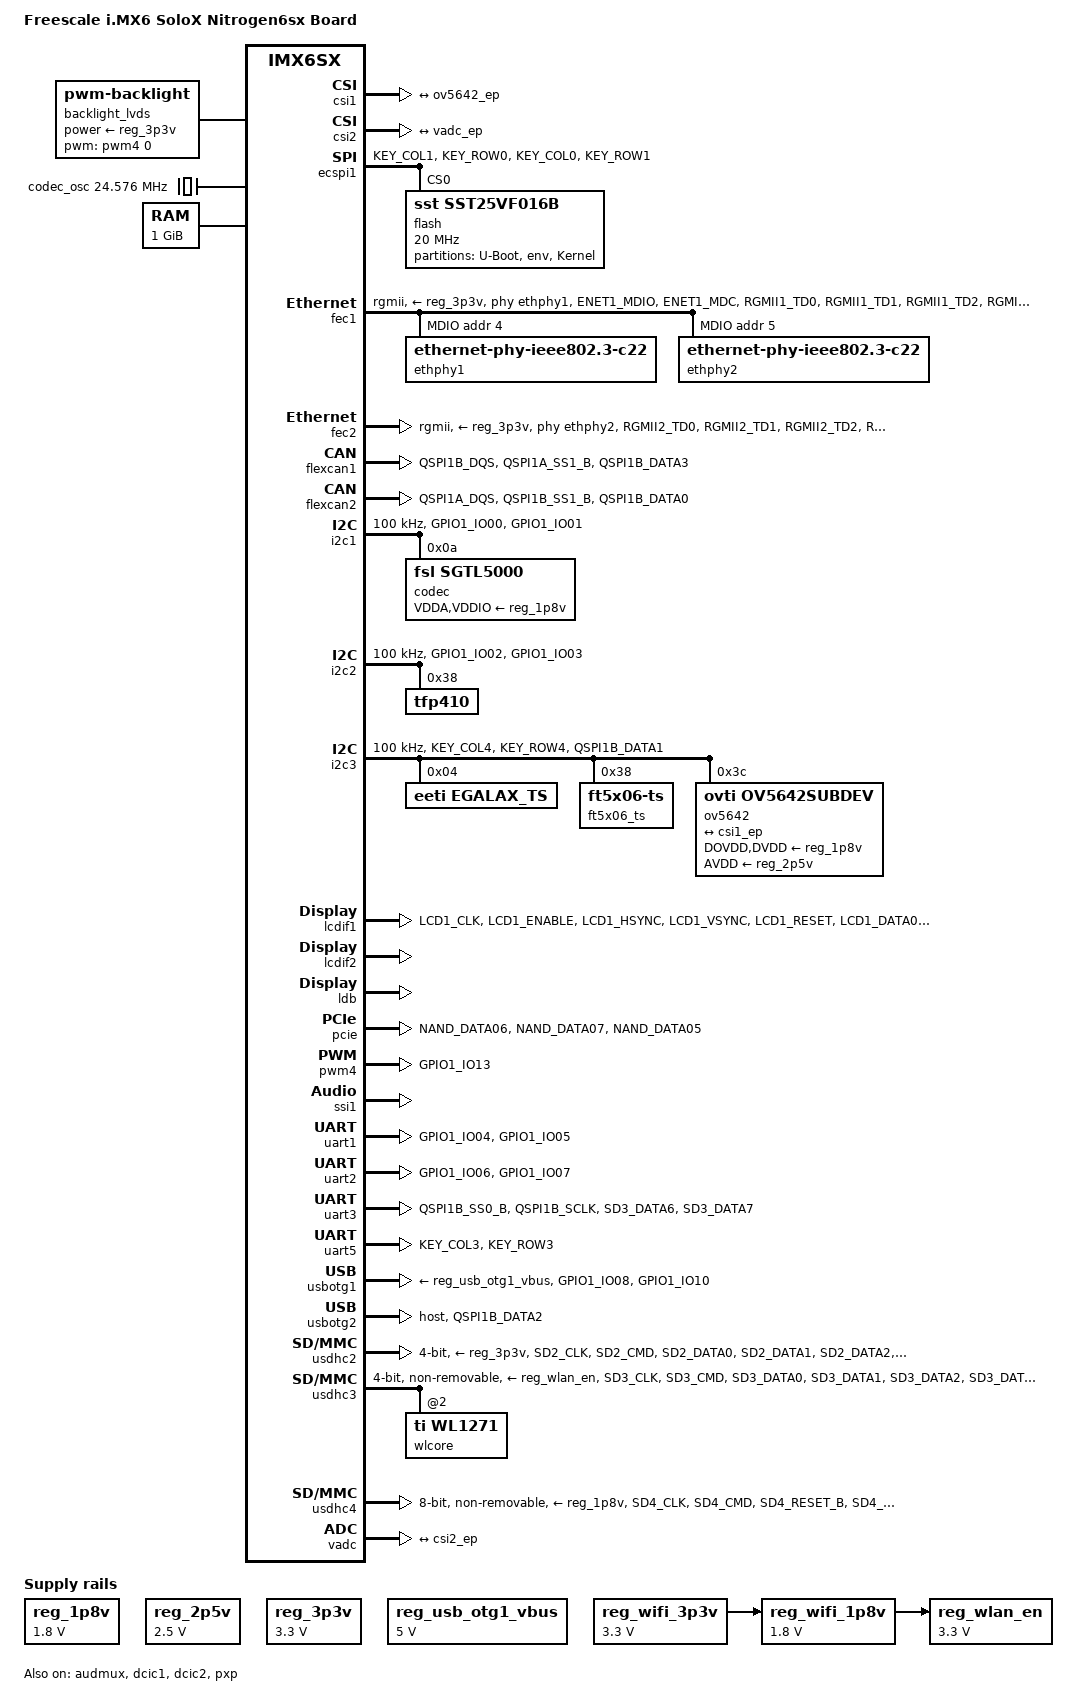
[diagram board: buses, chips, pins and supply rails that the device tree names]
/*
 * Copyright (C) 2014 Boundary Devices, Inc.
 *
 * This program is free software; you can redistribute it and/or modify
 * it under the terms of the GNU General Public License version 2 as
 * published by the Free Software Foundation.
 */

/dts-v1/;

#include <dt-bindings/gpio/gpio.h>
#include <dt-bindings/input/input.h>
#include "imx6sx.dtsi"

&iomuxc {
	pinctrl-names = "default";
	pinctrl-0 = <&pinctrl_hog>;

	iomuxc_nitrogen6sx: iomuxc-nitrogen6sxgrp {
		status = "okay";
	};
};

&iomuxc_nitrogen6sx {
	pinctrl_audmux: audmuxgrp {
		fsl,pins = <
			MX6SX_PAD_SD1_DATA0__AUDMUX_AUD5_RXD	0x1b0b0
			MX6SX_PAD_SD1_DATA1__AUDMUX_AUD5_TXC	0x1b0b0
			MX6SX_PAD_SD1_DATA2__AUDMUX_AUD5_TXFS	0x1b0b0
			MX6SX_PAD_SD1_DATA3__AUDMUX_AUD5_TXD	0x1b0b0
		>;
	};

	pinctrl_bt_rfkill: bt-rfkillgrp {
		fsl,pins = <
#define GP_BT_RFKILL_RESET	<&gpio2 17 GPIO_ACTIVE_LOW>
			MX6SX_PAD_KEY_ROW2__GPIO2_IO_17		0x1b0b0
		>;
	};

	pinctrl_csi_ov5642: csi-ov5642grp {
		fsl,pins = <
			MX6SX_PAD_CSI_MCLK__CSI1_MCLK		0x110b0
			MX6SX_PAD_CSI_PIXCLK__CSI1_PIXCLK	0x110b0
			MX6SX_PAD_CSI_HSYNC__CSI1_HSYNC		0x110b0
			MX6SX_PAD_CSI_VSYNC__CSI1_VSYNC		0x110b0
			MX6SX_PAD_CSI_DATA00__CSI1_DATA_2	0x110b0
			MX6SX_PAD_CSI_DATA01__CSI1_DATA_3	0x110b0
			MX6SX_PAD_CSI_DATA02__CSI1_DATA_4	0x110b0
			MX6SX_PAD_CSI_DATA03__CSI1_DATA_5	0x110b0
			MX6SX_PAD_CSI_DATA04__CSI1_DATA_6	0x110b0
			MX6SX_PAD_CSI_DATA05__CSI1_DATA_7	0x110b0
			MX6SX_PAD_CSI_DATA06__CSI1_DATA_8	0x110b0
			MX6SX_PAD_CSI_DATA07__CSI1_DATA_9	0x110b0

#define GP_OV5642_RESET		<&gpio4 2 GPIO_ACTIVE_LOW>
			MX6SX_PAD_NAND_CE1_B__GPIO4_IO_2	0x30b0
#define GP_OV5642_POWER_DOWN	<&gpio4 0 GPIO_ACTIVE_HIGH>
			MX6SX_PAD_NAND_ALE__GPIO4_IO_0		0xb0b0
		>;
	};

	pinctrl_ecspi1: ecspi1grp {
		fsl,pins = <
			MX6SX_PAD_KEY_COL1__ECSPI1_MISO		0x100b1
			MX6SX_PAD_KEY_ROW0__ECSPI1_MOSI		0x100b1
			MX6SX_PAD_KEY_COL0__ECSPI1_SCLK		0x100b1
#define GP_ECSPI1_NOR_CS		<&gpio2 16 GPIO_ACTIVE_LOW>
			MX6SX_PAD_KEY_ROW1__GPIO2_IO_16		0x0b0b1
		>;
	};

	pinctrl_enet1: enet1grp {
		fsl,pins = <
			MX6SX_PAD_ENET1_MDIO__ENET1_MDIO	0x1b0b0
			MX6SX_PAD_ENET1_MDC__ENET1_MDC		0x1b0b0
			MX6SX_PAD_RGMII1_TD0__ENET1_TX_DATA_0	0x30b1
			MX6SX_PAD_RGMII1_TD1__ENET1_TX_DATA_1	0x30b1
			MX6SX_PAD_RGMII1_TD2__ENET1_TX_DATA_2	0x30b1
			MX6SX_PAD_RGMII1_TD3__ENET1_TX_DATA_3	0x30b1
			MX6SX_PAD_RGMII1_TXC__ENET1_RGMII_TXC	0x30b1
			MX6SX_PAD_RGMII1_TX_CTL__ENET1_TX_EN	0x30b1
			MX6SX_PAD_RGMII1_RD0__ENET1_RX_DATA_0	0x3081
			MX6SX_PAD_RGMII1_RD1__ENET1_RX_DATA_1	0x3081
			MX6SX_PAD_RGMII1_RX_CTL__ENET1_RX_EN	0x3081
			MX6SX_PAD_RGMII1_RD2__ENET1_RX_DATA_2	0x3081
			MX6SX_PAD_RGMII1_RD3__ENET1_RX_DATA_3	0x3081
			MX6SX_PAD_RGMII1_RXC__ENET1_RX_CLK	0x3081
#define GP_RGMII1_PHY_RESET		<&gpio2 7 GPIO_ACTIVE_LOW>
			MX6SX_PAD_ENET2_CRS__GPIO2_IO_7		0xb0b0
#define GPIRQ_RGMII1_PHY		<&gpio2 4 IRQ_TYPE_LEVEL_LOW>
			MX6SX_PAD_ENET1_RX_CLK__GPIO2_IO_4	0xb0b0
			MX6SX_PAD_ENET1_TX_CLK__GPIO2_IO_5	0xb0b0
		>;
	};

	pinctrl_enet2: enet2grp {
		fsl,pins = <
			MX6SX_PAD_RGMII2_TD0__ENET2_TX_DATA_0	0x30b1
			MX6SX_PAD_RGMII2_TD1__ENET2_TX_DATA_1	0x30b1
			MX6SX_PAD_RGMII2_TD2__ENET2_TX_DATA_2	0x30b1
			MX6SX_PAD_RGMII2_TD3__ENET2_TX_DATA_3	0x30b1
			MX6SX_PAD_RGMII2_TXC__ENET2_RGMII_TXC	0x30b1
			MX6SX_PAD_RGMII2_TX_CTL__ENET2_TX_EN	0x30b1
			MX6SX_PAD_RGMII2_RD0__ENET2_RX_DATA_0	0x3081
			MX6SX_PAD_RGMII2_RD1__ENET2_RX_DATA_1	0x3081
			MX6SX_PAD_RGMII2_RX_CTL__ENET2_RX_EN	0x3081
			MX6SX_PAD_RGMII2_RD2__ENET2_RX_DATA_2	0x3081
			MX6SX_PAD_RGMII2_RD3__ENET2_RX_DATA_3	0x3081
			MX6SX_PAD_RGMII2_RXC__ENET2_RX_CLK	0x3081
#define GP_RGMII2_PHY_RESET		<&gpio2 6 GPIO_ACTIVE_LOW>
			MX6SX_PAD_ENET2_COL__GPIO2_IO_6		0xb0b0
#define GPIRQ_RGMII2_PHY		<&gpio2 8 IRQ_TYPE_LEVEL_LOW>
			MX6SX_PAD_ENET2_RX_CLK__GPIO2_IO_8	0xb0b0
			MX6SX_PAD_ENET2_TX_CLK__GPIO2_IO_9	0xb0b0
		>;
	};

	pinctrl_flexcan1: flexcan1grp {
		fsl,pins = <
			MX6SX_PAD_QSPI1B_DQS__CAN1_TX		0x1b0b0
			MX6SX_PAD_QSPI1A_SS1_B__CAN1_RX		0x1b0b0
#define GP_CAN1_STANDBY			<&gpio4 27 GPIO_ACTIVE_HIGH>
			MX6SX_PAD_QSPI1B_DATA3__GPIO4_IO_27	0x0b0b0
		>;
	};

	pinctrl_flexcan2: flexcan2grp {
		fsl,pins = <
			MX6SX_PAD_QSPI1A_DQS__CAN2_TX		0x1b0b0
			MX6SX_PAD_QSPI1B_SS1_B__CAN2_RX		0x1b0b0
#define GP_CAN2_STANDBY			<&gpio4 24 GPIO_ACTIVE_HIGH>
			MX6SX_PAD_QSPI1B_DATA0__GPIO4_IO_24	0x0b0b0
		>;
	};

	pinctrl_hog: hoggrp {
		fsl,pins = <
			MX6SX_PAD_NAND_CE0_B__GPIO4_IO_1	0x1b0b0
			MX6SX_PAD_NAND_WE_B__GPIO4_IO_14	0x1b0b0
			MX6SX_PAD_NAND_WP_B__GPIO4_IO_15	0x1b0b0
			MX6SX_PAD_NAND_READY_B__GPIO4_IO_13	0x1b0b0
			MX6SX_PAD_QSPI1A_DATA0__GPIO4_IO_16	0x1b0b0
			MX6SX_PAD_QSPI1A_DATA1__GPIO4_IO_17	0x1b0b0
			MX6SX_PAD_QSPI1A_DATA2__GPIO4_IO_18	0x1b0b0
			MX6SX_PAD_QSPI1A_DATA3__GPIO4_IO_19	0x1b0b0
#define GP_WIFI_PASS			<&gpio4 6 GPIO_ACTIVE_HIGH>
			MX6SX_PAD_NAND_DATA02__GPIO4_IO_6	0x030b1
#define GP_WIFI_FAIL			<&gpio4 4 GPIO_ACTIVE_HIGH>
			MX6SX_PAD_NAND_DATA00__GPIO4_IO_4	0x030b1
#define GP_WIFI_TEST			<&gpio4 7 GPIO_ACTIVE_LOW>
			MX6SX_PAD_NAND_DATA03__GPIO4_IO_7	0x0b0b1
			/* Test points */
			MX6SX_PAD_NAND_DATA04__GPIO4_IO_8	0x1b0b0
		>;
	};

	pinctrl_i2c1: i2c1grp {
		fsl,pins = <
			MX6SX_PAD_GPIO1_IO00__I2C1_SCL		0x4001b8b1
			MX6SX_PAD_GPIO1_IO01__I2C1_SDA		0x4001b8b1
		>;
	};

	pinctrl_i2c2: i2c2grp {
		fsl,pins = <
			MX6SX_PAD_GPIO1_IO02__I2C2_SCL		0x4001b8b1
			MX6SX_PAD_GPIO1_IO03__I2C2_SDA		0x4001b8b1
		>;
	};

	pinctrl_i2c2_tfp410: i2c2-tfp410grp {
		fsl,pins = <
#define GPIRQ_I2C2_TFP410	<&gpio4 3 IRQ_TYPE_EDGE_FALLING>
			MX6SX_PAD_NAND_CLE__GPIO4_IO_3		0x1b0b0
#define GP_I2C2_TFP410_I2C_SEL  <&gpio4 12 GPIO_ACTIVE_HIGH>
			MX6SX_PAD_NAND_RE_B__GPIO4_IO_12	0x1b0b0
		>;
	};

	pinctrl_i2c3: i2c3grp {
		fsl,pins = <
			MX6SX_PAD_KEY_COL4__I2C3_SCL		0x4001b8b1
			MX6SX_PAD_KEY_ROW4__I2C3_SDA		0x4001b8b1
#define GPIRQ_I2C3_J18	<&gpio4 25 IRQ_TYPE_EDGE_FALLING>
#define GP_I2C3_J18	<&gpio4 25 GPIO_ACTIVE_LOW>
			MX6SX_PAD_QSPI1B_DATA1__GPIO4_IO_25	0x1b0b0
		>;
	};

	pinctrl_lcdif1: lcdif1grp {
		fsl,pins = <
			MX6SX_PAD_LCD1_CLK__LCDIF1_CLK		0x4001b0b0
			MX6SX_PAD_LCD1_ENABLE__LCDIF1_ENABLE	0x4001b0b0
			MX6SX_PAD_LCD1_HSYNC__LCDIF1_HSYNC	0x4001b0b0
			MX6SX_PAD_LCD1_VSYNC__LCDIF1_VSYNC	0x4001b0b0
			MX6SX_PAD_LCD1_RESET__GPIO3_IO_27	0x4001b0b0
			MX6SX_PAD_LCD1_DATA00__LCDIF1_DATA_0	0x4001b0b0
			MX6SX_PAD_LCD1_DATA01__LCDIF1_DATA_1	0x4001b0b0
			MX6SX_PAD_LCD1_DATA02__LCDIF1_DATA_2	0x4001b0b0
			MX6SX_PAD_LCD1_DATA03__LCDIF1_DATA_3	0x4001b0b0
			MX6SX_PAD_LCD1_DATA04__LCDIF1_DATA_4	0x4001b0b0
			MX6SX_PAD_LCD1_DATA05__LCDIF1_DATA_5	0x4001b0b0
			MX6SX_PAD_LCD1_DATA06__LCDIF1_DATA_6	0x4001b0b0
			MX6SX_PAD_LCD1_DATA07__LCDIF1_DATA_7	0x4001b0b0
			MX6SX_PAD_LCD1_DATA08__LCDIF1_DATA_8	0x4001b0b0
			MX6SX_PAD_LCD1_DATA09__LCDIF1_DATA_9	0x4001b0b0
			MX6SX_PAD_LCD1_DATA10__LCDIF1_DATA_10	0x4001b0b0
			MX6SX_PAD_LCD1_DATA11__LCDIF1_DATA_11	0x4001b0b0
			MX6SX_PAD_LCD1_DATA12__LCDIF1_DATA_12	0x4001b0b0
			MX6SX_PAD_LCD1_DATA13__LCDIF1_DATA_13	0x4001b0b0
			MX6SX_PAD_LCD1_DATA14__LCDIF1_DATA_14	0x4001b0b0
			MX6SX_PAD_LCD1_DATA15__LCDIF1_DATA_15	0x4001b0b0
			MX6SX_PAD_LCD1_DATA16__LCDIF1_DATA_16	0x4001b0b0
			MX6SX_PAD_LCD1_DATA17__LCDIF1_DATA_17	0x4001b0b0
			MX6SX_PAD_LCD1_DATA18__LCDIF1_DATA_18	0x4001b0b0
			MX6SX_PAD_LCD1_DATA19__LCDIF1_DATA_19	0x4001b0b0
			MX6SX_PAD_LCD1_DATA20__LCDIF1_DATA_20	0x4001b0b0
			MX6SX_PAD_LCD1_DATA21__LCDIF1_DATA_21	0x4001b0b0
			MX6SX_PAD_LCD1_DATA22__LCDIF1_DATA_22	0x4001b0b0
			MX6SX_PAD_LCD1_DATA23__LCDIF1_DATA_23	0x4001b0b0
		>;
	};

	pinctrl_lvds: lvdsgrp {
		fsl,pins = <
#define GP_LVDS_ENABLE			<&gpio4 21 GPIO_ACTIVE_HIGH>
			MX6SX_PAD_QSPI1A_SCLK__GPIO4_IO_21	0xb0b0
		>;
	};

	pinctrl_pcie: pciegrp {
		fsl,pins = <
#define GP_PCIE_RESET			<&gpio4 10 GPIO_ACTIVE_LOW>
			MX6SX_PAD_NAND_DATA06__GPIO4_IO_10	0x30b0
#define GP_PCIE_DISABLE			<&gpio4 11 GPIO_ACTIVE_HIGH>
			MX6SX_PAD_NAND_DATA07__GPIO4_IO_11	0x30b0
#define GP_PCIE_WAKE			<&gpio4 9 GPIO_ACTIVE_LOW>
			MX6SX_PAD_NAND_DATA05__GPIO4_IO_9	0x30b0
		>;
	};

	pinctrl_pwm4: pwm4grp {
		fsl,pins = <
			MX6SX_PAD_GPIO1_IO13__PWM4_OUT		0x110b0
		>;
	};

	pinctrl_reg_wifi_1p8v: reg-wifi-1p8vgrp {
		fsl,pins = <
#define GP_REG_WIFI_1P8V_EN	<&gpio4 5 GPIO_ACTIVE_HIGH>
			MX6SX_PAD_NAND_DATA01__GPIO4_IO_5	0x030b0
		>;
	};

	pinctrl_reg_wifi_3p3v: reg-wifi-3p3vgrp {
		fsl,pins = <
#define GP_REG_WIFI_3P3V_EN	<&gpio6 1 GPIO_ACTIVE_HIGH>
			MX6SX_PAD_SD1_CMD__GPIO6_IO_1		0x030b0
		>;
	};

	pinctrl_reg_wlan: reg-wlangrp {
		fsl,pins = <
#define GP_REG_WLAN_EN	<&gpio7 6 GPIO_ACTIVE_HIGH>
			MX6SX_PAD_SD3_DATA4__GPIO7_IO_6		0x1b0b0
			MX6SX_PAD_GPIO1_IO11__CCM_CLKO1		0x000b0
		>;
	};

	pinctrl_sgtl5000: sgtl5000grp {
		fsl,pins = <
			MX6SX_PAD_GPIO1_IO12__CCM_CLKO2		0x000b0
#define GP_SGTL5000_HP_DETECT		<&gpio2 0 GPIO_ACTIVE_LOW>
			MX6SX_PAD_ENET1_COL__GPIO2_IO_0		0x1b0b0
#define GP_SGTL5000_MIC_DETECT		<&gpio2 1 GPIO_ACTIVE_LOW>
			MX6SX_PAD_ENET1_CRS__GPIO2_IO_1		0x1b0b0
#define GP_SGTL5000_MUTE		<&gpio4 22 GPIO_ACTIVE_LOW>
			MX6SX_PAD_QSPI1A_SS0_B__GPIO4_IO_22	0xb0b0
		>;
	};

	pinctrl_uart1: uart1grp {
		fsl,pins = <
			MX6SX_PAD_GPIO1_IO04__UART1_TX		0x1b0b1
			MX6SX_PAD_GPIO1_IO05__UART1_RX		0x1b0b1
		>;
	};

	pinctrl_uart2: uart2grp {
		fsl,pins = <
			MX6SX_PAD_GPIO1_IO06__UART2_TX		0x1b0b1
			MX6SX_PAD_GPIO1_IO07__UART2_RX		0x1b0b1
		>;
	};

	pinctrl_uart3: uart3grp {
		fsl,pins = <
			MX6SX_PAD_QSPI1B_SS0_B__UART3_TX	0x1b0b1
			MX6SX_PAD_QSPI1B_SCLK__UART3_RX		0x1b0b1
			MX6SX_PAD_SD3_DATA6__UART3_RTS_B	0x1b0b1
			MX6SX_PAD_SD3_DATA7__UART3_CTS_B	0x1b0b1
		>;
	};

	pinctrl_uart5: uart5grp {
		fsl,pins = <
			MX6SX_PAD_KEY_COL3__UART5_TX		0x1b0b1
			MX6SX_PAD_KEY_ROW3__UART5_RX		0x1b0b1
		>;
	};

	pinctrl_usbotg1: usbotg1grp {
		fsl,pins = <
			MX6SX_PAD_GPIO1_IO08__USB_OTG1_OC	0x1b0b0
			MX6SX_PAD_GPIO1_IO10__ANATOP_OTG1_ID	0x170b1
		>;
	};

	pinctrl_usbotg1_vbus: usbotg1-vbusgrp {
		fsl,pins = <
#define GP_USB_OTG1_PWR			<&gpio1 9 GPIO_ACTIVE_HIGH>
			MX6SX_PAD_GPIO1_IO09__GPIO1_IO_9	0x1b0b0
		>;
	};

	pinctrl_usbotg2: usbotg2grp {
		fsl,pins = <
#define GP_USB_HUB_RESET		<&gpio4 26 GPIO_ACTIVE_LOW>
			MX6SX_PAD_QSPI1B_DATA2__GPIO4_IO_26	0xb0b0
		>;
	};

	pinctrl_usdhc2_50mhz: usdhc2-50mhzgrp {
		fsl,pins = <
			MX6SX_PAD_SD2_CLK__USDHC2_CLK		0x10071
			MX6SX_PAD_SD2_CMD__USDHC2_CMD		0x1f071
			MX6SX_PAD_SD2_DATA0__USDHC2_DATA0	0x1f071
			MX6SX_PAD_SD2_DATA1__USDHC2_DATA1	0x1f071
			MX6SX_PAD_SD2_DATA2__USDHC2_DATA2	0x1f071
			MX6SX_PAD_SD2_DATA3__USDHC2_DATA3	0x1f071
#define GP_USDHC2_CD			<&gpio2 12 GPIO_ACTIVE_LOW>
			MX6SX_PAD_KEY_COL2__GPIO2_IO_12		0x1b0b0
		>;
	};

	pinctrl_usdhc3_50mhz: usdhc3-50mhzgrp {
		fsl,pins = <
			MX6SX_PAD_SD3_CLK__USDHC3_CLK		0x10071
			MX6SX_PAD_SD3_CMD__USDHC3_CMD		0x17071
			MX6SX_PAD_SD3_DATA0__USDHC3_DATA0	0x17071
			MX6SX_PAD_SD3_DATA1__USDHC3_DATA1	0x17071
			MX6SX_PAD_SD3_DATA2__USDHC3_DATA2	0x17071
			MX6SX_PAD_SD3_DATA3__USDHC3_DATA3	0x17071
#define GPIRQ_WL1271 	<&gpio7 7 IRQ_TYPE_LEVEL_HIGH>
			MX6SX_PAD_SD3_DATA5__GPIO7_IO_7		0x1b0b0
		>;
	};

	pinctrl_usdhc3_100mhz: usdhc3-100mhzgrp {
		fsl,pins = <
			MX6SX_PAD_SD3_CLK__USDHC3_CLK		0x100b9
			MX6SX_PAD_SD3_CMD__USDHC3_CMD		0x170b9
			MX6SX_PAD_SD3_DATA0__USDHC3_DATA0	0x170b9
			MX6SX_PAD_SD3_DATA1__USDHC3_DATA1	0x170b9
			MX6SX_PAD_SD3_DATA2__USDHC3_DATA2	0x170b9
			MX6SX_PAD_SD3_DATA3__USDHC3_DATA3	0x170b9
		>;
	};

	pinctrl_usdhc3_200mhz: usdhc3-200mhzgrp {
		fsl,pins = <
			MX6SX_PAD_SD3_CLK__USDHC3_CLK		0x100f9
			MX6SX_PAD_SD3_CMD__USDHC3_CMD		0x170f9
			MX6SX_PAD_SD3_DATA0__USDHC3_DATA0	0x170f9
			MX6SX_PAD_SD3_DATA1__USDHC3_DATA1	0x170f9
			MX6SX_PAD_SD3_DATA2__USDHC3_DATA2	0x170f9
			MX6SX_PAD_SD3_DATA3__USDHC3_DATA3	0x170f9
		>;
	};

	pinctrl_usdhc4_50mhz: usdhc4-50mhzgrp {
		fsl,pins = <
			MX6SX_PAD_SD4_CLK__USDHC4_CLK		0x10071
			MX6SX_PAD_SD4_CMD__USDHC4_CMD		0x17071
			MX6SX_PAD_SD4_RESET_B__USDHC4_RESET_B	0x17071
			MX6SX_PAD_SD4_DATA0__USDHC4_DATA0	0x17071
			MX6SX_PAD_SD4_DATA1__USDHC4_DATA1	0x17071
			MX6SX_PAD_SD4_DATA2__USDHC4_DATA2	0x17071
			MX6SX_PAD_SD4_DATA3__USDHC4_DATA3	0x17071
			MX6SX_PAD_SD4_DATA4__USDHC4_DATA4	0x17071
			MX6SX_PAD_SD4_DATA5__USDHC4_DATA5	0x17071
			MX6SX_PAD_SD4_DATA6__USDHC4_DATA6	0x17071
			MX6SX_PAD_SD4_DATA7__USDHC4_DATA7	0x17071
		>;
	};
	pinctrl_usdhc4_100mhz: usdhc4-100mhzgrp {
		fsl,pins = <
			MX6SX_PAD_SD4_CLK__USDHC4_CLK		0x100b9
			MX6SX_PAD_SD4_CMD__USDHC4_CMD		0x170b9
			MX6SX_PAD_SD4_DATA0__USDHC4_DATA0	0x170b9
			MX6SX_PAD_SD4_DATA1__USDHC4_DATA1	0x170b9
			MX6SX_PAD_SD4_DATA2__USDHC4_DATA2	0x170b9
			MX6SX_PAD_SD4_DATA3__USDHC4_DATA3	0x170b9
			MX6SX_PAD_SD4_DATA4__USDHC4_DATA4	0x170b9
			MX6SX_PAD_SD4_DATA5__USDHC4_DATA5	0x170b9
			MX6SX_PAD_SD4_DATA6__USDHC4_DATA6	0x170b9
			MX6SX_PAD_SD4_DATA7__USDHC4_DATA7	0x170b9
		>;
	};

	pinctrl_usdhc4_200mhz: usdhc4-200mhzgrp {
		fsl,pins = <
			MX6SX_PAD_SD4_CLK__USDHC4_CLK		0x100f9
			MX6SX_PAD_SD4_CMD__USDHC4_CMD		0x170f9
			MX6SX_PAD_SD4_DATA0__USDHC4_DATA0	0x170f9
			MX6SX_PAD_SD4_DATA1__USDHC4_DATA1	0x170f9
			MX6SX_PAD_SD4_DATA2__USDHC4_DATA2	0x170f9
			MX6SX_PAD_SD4_DATA3__USDHC4_DATA3	0x170f9
			MX6SX_PAD_SD4_DATA4__USDHC4_DATA4	0x170f9
			MX6SX_PAD_SD4_DATA5__USDHC4_DATA5	0x170f9
			MX6SX_PAD_SD4_DATA6__USDHC4_DATA6	0x170f9
			MX6SX_PAD_SD4_DATA7__USDHC4_DATA7	0x170f9
		>;
	};
};

/ {
	model = "Freescale i.MX6 SoloX Nitrogen6sx Board";
	compatible = "fsl,imx6sx-nitrogen6sx", "fsl,imx6sx";

	aliases {
		fb_lcd = &lcdif1;
		fb_lvds = &lcdif2;
		lcd = &display0;
		lvds = &display1;
		ldb = &ldb;
		mmc0 = &usdhc2;
		mmc1 = &usdhc4;
		mmc2 = &usdhc3;
		t_lcd = &t_lcd;
		t_lvds = &t_lvds;
	};

	backlight_lvds {
		compatible = "pwm-backlight";
		pwms = <&pwm4 0 5000000>;
		brightness-levels = <0 4 8 16 32 64 128 255>;
		default-brightness-level = <6>;
		fb-names = "mxs-lcdif2";
		power-supply = <&reg_3p3v>;
	};

	bt_rfkill {
		pinctrl-names = "default";
		pinctrl-0 = <&pinctrl_bt_rfkill>;
		compatible = "net,rfkill-gpio";
		name = "bt_rfkill";
		type = <2>;     /* bluetooth */
		reset-gpios = GP_BT_RFKILL_RESET;
		status = "okay";
	};

	clocks {
	        codec_osc: anaclk2 {
		        #clock-cells = <0>;
		        compatible = "fixed-clock";
		        clock-frequency = <24576000>;
		};
	};

	memory {
		reg = <0x80000000 0x40000000>;
	};

	pxp_v4l2_out {
		compatible = "fsl,imx6sx-pxp-v4l2", "fsl,imx6sl-pxp-v4l2";
		status = "okay";
	};

	regulators {
		compatible = "simple-bus";
		#address-cells = <1>;
		#size-cells = <0>;

		reg_1p8v: regulator@0 {
			compatible = "regulator-fixed";
			reg = <0>;
			regulator-name = "1P8V";
			regulator-min-microvolt = <1800000>;
			regulator-max-microvolt = <1800000>;
			regulator-always-on;
		};

		reg_2p5v: regulator@1 {
			compatible = "regulator-fixed";
			reg = <1>;
			regulator-name = "2P5V";
			regulator-min-microvolt = <2500000>;
			regulator-max-microvolt = <2500000>;
			regulator-always-on;
		};

		reg_3p3v: regulator@2 {
			compatible = "regulator-fixed";
			reg = <2>;
			regulator-name = "3P3V";
			regulator-min-microvolt = <3300000>;
			regulator-max-microvolt = <3300000>;
			regulator-always-on;
		};

		reg_usb_otg1_vbus: regulator@3 {
			pinctrl-names = "default";
			pinctrl-0 = <&pinctrl_usbotg1_vbus>;
			compatible = "regulator-fixed";
			reg = <3>;
			regulator-name = "usb_otg1_vbus";
			regulator-min-microvolt = <5000000>;
			regulator-max-microvolt = <5000000>;
			gpio = GP_USB_OTG1_PWR;
			enable-active-high;
		};

		reg_wifi_3p3v: regulator@4 {
			compatible = "regulator-fixed";
			pinctrl-names = "default";
			pinctrl-0 = <&pinctrl_reg_wifi_3p3v>;
			reg = <4>;
			regulator-name = "wifi_3P3V";
			regulator-min-microvolt = <3300000>;
			regulator-max-microvolt = <3300000>;
			startup-delay-us = <5000>;
			gpio = GP_REG_WIFI_3P3V_EN;
			enable-active-high;
		};

		reg_wifi_1p8v: regulator@5 {
			compatible = "regulator-fixed";
			pinctrl-names = "default";
			pinctrl-0 = <&pinctrl_reg_wifi_1p8v>;
			reg = <5>;
			regulator-name = "wifi_1P8V";
			regulator-min-microvolt = <1800000>;
			regulator-max-microvolt = <1800000>;
			startup-delay-us = <400000>;
			gpio = GP_REG_WIFI_1P8V_EN;
			enable-active-high;
			vin-supply = <&reg_wifi_3p3v>;
		};

		reg_wlan_en: regulator@6 {
			pinctrl-names = "default";
			pinctrl-0 = <&pinctrl_reg_wlan>;
			compatible = "regulator-fixed";
			clocks = <&clks IMX6SX_CLK_CKO>;
			clock-names = "slow";
			reg = <6>;
			regulator-name = "wlan-en";
			regulator-min-microvolt = <3300000>;
			regulator-max-microvolt = <3300000>;
			startup-delay-us = <70000>;
			gpio = GP_REG_WLAN_EN;
			enable-active-high;
			vin-supply = <&reg_wifi_1p8v>;
		};
	};

	sound_sgtl5000 {
		compatible = "fsl,imx6sx-nitrogen6sx-sgtl5000",
			     "fsl,imx-audio-sgtl5000";
		model = "imx6sx-nitrogen6sx-sgtl5000";
		ssi-controller = <&ssi1>;
		audio-codec = <&codec>;
		audio-routing =
			"MIC_IN", "Mic Jack",
			"Mic Jack", "Mic Bias",
			"Headphone Jack", "HP_OUT",
			"Line Out Jack", "LINE_OUT";
		mux-int-port = <1>;
		mux-ext-port = <5>;
		line-out-mute-gpios = GP_SGTL5000_MUTE;
	};
};

&audmux {
	pinctrl-names = "default";
	pinctrl-0 = <&pinctrl_audmux>;
	status = "okay";
};

&clks {
	assigned-clocks = <&clks IMX6SX_PLL4_BYPASS_SRC>,
			  <&clks IMX6SX_PLL4_BYPASS>,
			  <&clks IMX6SX_CLK_CKO>,
			  <&clks IMX6SX_CLK_CKO1_SEL>,
			  <&clks IMX6SX_CLK_PLL4_POST_DIV>;
	assigned-clock-parents = <&clks IMX6SX_CLK_LVDS2_IN>,
				 <&clks IMX6SX_PLL4_BYPASS_SRC>,
				 <&clks IMX6SX_CLK_CKO1>,
				 <&clks IMX6SX_CLK_CKIL>;
	assigned-clock-rates = <0>, <0>, <0>, <0>, <24576000>;
};

&csi1 {
	status = "okay";

	port {
		csi1_ep: endpoint {
			remote-endpoint = <&ov5642_ep>;
		};
	};
};

&csi2 {
	status = "okay";
	port {
		csi2_ep: endpoint {
			remote-endpoint = <&vadc_ep>;
		};
	};
};

&dcic1 {
	dcic_id = <0>;
	dcic_mux = "dcic-lcdif1";
	status = "okay";
};

&dcic2 {
	dcic_id = <1>;
	dcic_mux = "dcic-lvds";
	status = "okay";
};

&ecspi1 {
	fsl,spi-num-chipselects = <1>;
	cs-gpios = GP_ECSPI1_NOR_CS;
	pinctrl-names = "default";
	pinctrl-0 = <&pinctrl_ecspi1>;
	status = "okay";

	flash: m25p80@0 {
		compatible = "sst,sst25vf016b";
		spi-max-frequency = <20000000>;
		reg = <0>;
		#address-cells = <1>;
		#size-cells = <1>;
		partition@0 {
			label = "U-Boot";
			reg = <0x0 0xC0000>;
			read-only;
		};
		partition@C0000 {
			label = "env";
			reg = <0xC0000 0x2000>;
			read-only;
		};
		partition@C2000 {
			label = "Kernel";
			reg = <0xC2000 0x13e000>;
		};
	};
};

&fec1 {
	pinctrl-names = "default";
	pinctrl-0 = <&pinctrl_enet1>;
	phy-mode = "rgmii";
#if 0
	phy-reset-gpios = GP_RGMII1_PHY_RESET;
#endif
	phy-handle = <&ethphy1>;
	phy-supply = <&reg_3p3v>;
	fsl,magic-packet;
	status = "okay";

	mdio {
		#address-cells = <1>;
		#size-cells = <0>;

		ethphy1: ethernet-phy@4 {
			compatible = "ethernet-phy-ieee802.3-c22";
			reg = <4>;
			interrupts-extended = GPIRQ_RGMII1_PHY;
		};

		ethphy2: ethernet-phy@5 {
			compatible = "ethernet-phy-ieee802.3-c22";
			reg = <5>;
			interrupts-extended = GPIRQ_RGMII2_PHY;
		};
	};
};

&fec2 {
	pinctrl-names = "default";
	pinctrl-0 = <&pinctrl_enet2>;
	phy-mode = "rgmii";
#if 0
	phy-reset-gpios = GP_RGMII2_PHY_RESET;
#endif
	phy-handle = <&ethphy2>;
	phy-supply = <&reg_3p3v>;
	fsl,magic-packet;
	status = "okay";
};

&flexcan1 {
	pinctrl-names = "default";
	pinctrl-0 = <&pinctrl_flexcan1>;
	trx-stby-gpio = GP_CAN1_STANDBY;
	status = "okay";
};

&flexcan2 {
	pinctrl-names = "default";
	pinctrl-0 = <&pinctrl_flexcan2>;
	trx-stby-gpio = GP_CAN2_STANDBY;
	status = "okay";
};

&i2c1 {
	clock-frequency = <100000>;
	pinctrl-names = "default";
	pinctrl-0 = <&pinctrl_i2c1>;
	status = "okay";

	codec: sgtl5000@0a {
		compatible = "fsl,sgtl5000";
		pinctrl-names = "default";
		pinctrl-0 = <&pinctrl_sgtl5000>;
		reg = <0x0a>;
		clocks = <&clks IMX6SX_CLK_CKO2>;
		VDDA-supply = <&reg_1p8v>;
		VDDIO-supply = <&reg_1p8v>;
		assigned-clocks = <&clks IMX6SX_CLK_CKO2_SEL>,
				  <&clks IMX6SX_CLK_CKO2>;
		assigned-clock-parents = <&clks IMX6SX_CLK_OSC>;
		assigned-clock-rates = <0>, <24000000>;
	};
};

&i2c2 {
	clock-frequency = <100000>;
	pinctrl-names = "default";
	pinctrl-0 = <&pinctrl_i2c2>;
	status = "okay";
	tfp410@38 {
		compatible = "tfp410";
		pinctrl-names = "default";
		pinctrl-0 = <&pinctrl_i2c2_tfp410>;
		reg = <0x38>;
		interrupts-extended = GPIRQ_I2C2_TFP410;
		i2c_sel-gpios = GP_I2C2_TFP410_I2C_SEL;
		display_id = "mxs-lcdif";
	};

	/* pcie i2c */
};

&i2c3 {
        clock-frequency = <100000>;
	pinctrl-names = "default";
	pinctrl-0 = <&pinctrl_i2c3>;
	status = "okay";

        egalax_ts@04 {
                compatible = "eeti,egalax_ts";
                reg = <0x04>;
                interrupts-extended = GPIRQ_I2C3_J18;
                wakeup-gpios = GP_I2C3_J18;
        };

	ft5x06_ts@38 {
		compatible = "ft5x06-ts";
		reg = <0x38>;
                interrupts-extended = GPIRQ_I2C3_J18;
		wakeup-gpios = GP_I2C3_J18;
	};

	ov5642: ov5642@3c {
		compatible = "ovti,ov5642subdev";
		reg = <0x3c>;
		pinctrl-names = "default";
		pinctrl-0 = <&pinctrl_csi_ov5642>;
		clocks = <&clks IMX6SX_CLK_CSI>;
		clock-names = "csi_mclk";
		DOVDD-supply = <&reg_1p8v>;
		AVDD-supply = <&reg_2p5v>;
		DVDD-supply = <&reg_1p8v>;
		pwn-gpios = GP_OV5642_POWER_DOWN;
		rst-gpios = GP_OV5642_RESET;
		ipu_id = <0>;
		csi_id = <0>;
		mclk = <24000000>;
		mclk_source = <0>;
		port {
			ov5642_ep: endpoint {
				remote-endpoint = <&csi1_ep>;
			};
		};
	};
};

&lcdif1 {
	pinctrl-names = "default";
	pinctrl-0 = <&pinctrl_lcdif1>;
	lcd-supply = <&reg_3p3v>;
	display = <&display0>;
	status = "okay";

	display0: display0 {
		bits-per-pixel = <16>;
		bus-width = <24>;

		display-timings {
			t_lcd: t_lcd_default {
				/* 720p values may be changed in bootscript */
				clock-frequency = <74160000>;
				hactive = <1280>;
				vactive = <720>;
				hback-porch = <220>;
				hfront-porch = <110>;
				vback-porch = <20>;
				vfront-porch = <5>;
				hsync-len = <40>;
				vsync-len = <5>;
				hsync-active = <0>;
				vsync-active = <0>;
				de-active = <1>;
				pixelclk-active = <0>;
			};
		};
	};
};

&lcdif2 {
	lcd-supply = <&reg_3p3v>;
	display = <&display1>;
	disp-dev = "ldb";
	status = "okay";

	assigned-clocks = <&clks IMX6SX_CLK_LCDIF2_SEL>;
	assigned-clock-parents = <&clks IMX6SX_CLK_LDB_DI0>;
	assigned-clock-rates = <0>;

	display1: display1 {
		bits-per-pixel = <16>;
		bus-width = <18>;
	};
};

&ldb {
	status = "okay";

	lvds-channel@0 {
		fsl,data-mapping = "spwg";
		fsl,data-width = <18>;
		crtc = "lcdif2";
		status = "okay";

		display-timings {
			t_lvds: t_lvds_default {
				/* values may be changed in bootscript */
				clock-frequency = <73404600>;
				hactive = <1280>;
				vactive = <800>;
				hback-porch = <40>;
				hfront-porch = <40>;
				vback-porch = <3>;
				vfront-porch = <80>;
				hsync-len = <10>;
				vsync-len = <10>;
			};
		};
	};
};

&pcie {
	pinctrl-names = "default";
	pinctrl-0 = <&pinctrl_pcie>;
	reset-gpios = GP_PCIE_RESET;
	status = "okay";
};

&pwm4 {
	pinctrl-names = "default";
	pinctrl-0 = <&pinctrl_pwm4>;
	status = "okay";
};

&pxp {
	status = "okay";
};

&ssi1 {
	fsl,mode = "i2s-master";
	status = "okay";
};

&uart1 {
	pinctrl-names = "default";
	pinctrl-0 = <&pinctrl_uart1>;
	status = "okay";
};

&uart2 {
	pinctrl-names = "default";
	pinctrl-0 = <&pinctrl_uart2>;
	status = "okay";
};

&uart3 { /* for bluetooth */
	pinctrl-names = "default";
	pinctrl-0 = <&pinctrl_uart3>;
	fsl,uart-has-rtscts;
	status = "okay";
};

&uart5 {
	pinctrl-names = "default";
	pinctrl-0 = <&pinctrl_uart5>;
	status = "okay";
};

&usbotg1 {
	vbus-supply = <&reg_usb_otg1_vbus>;
	pinctrl-names = "default";
	pinctrl-0 = <&pinctrl_usbotg1>;
	status = "okay";
};

&usbotg2 {
	pinctrl-names = "default";
	pinctrl-0 = <&pinctrl_usbotg2>;
	dr_mode = "host";
	disable-over-current;
	reset-gpios = GP_USB_HUB_RESET;
	status = "okay";
};

&usdhc2 {
	pinctrl-names = "default";
	pinctrl-0 = <&pinctrl_usdhc2_50mhz>;
	bus-width = <4>;
	cd-gpios = GP_USDHC2_CD;
	keep-power-in-suspend;
	enable-sdio-wakeup;
	vmmc-supply = <&reg_3p3v>;
	status = "okay";
};

/* TiWi or broadcom or Silex */
&usdhc3 {
	bus-width = <4>;
	cap-power-off-card;
	cap-sdio-irq;
#if 0
	fsl,tuning-start-tap = <20>;
	fsl,tuning-step= <2>;
#endif
	keep-power-in-suspend;
#if 1
	max-clock = <20000000>;
#endif
	non-removable;
#if 0
	pinctrl-names = "default", "state_100mhz", "state_200mhz";
#else
	pinctrl-names = "default";
#endif
	pinctrl-0 = <&pinctrl_usdhc3_50mhz>;
	pinctrl-1 = <&pinctrl_usdhc3_100mhz>;
	pinctrl-2 = <&pinctrl_usdhc3_200mhz>;
	vmmc-supply = <&reg_wlan_en>;
	vqmmc-1-8-v;
	status = "okay";

	#address-cells = <1>;
	#size-cells = <0>;
	wlcore: wlcore@2 {
		compatible = "ti,wl1271";
		interrupts-extended = GPIRQ_WL1271;
		reg = <2>;
		ref-clock-frequency = <38400000>;
	};
};

&usdhc4 {
	pinctrl-names = "default", "state_100mhz", "state_200mhz";
	pinctrl-0 = <&pinctrl_usdhc4_50mhz>;
	pinctrl-1 = <&pinctrl_usdhc4_100mhz>;
	pinctrl-2 = <&pinctrl_usdhc4_200mhz>;
	bus-width = <8>;
	non-removable;
	vqmmc-1-8-v;
	vmmc-supply = <&reg_1p8v>;
	keep-power-in-suspend;
	status = "okay";
};

&vadc {
	vadc_in = <0>;
	csi_id = <1>;
	status = "okay";
	port {
		vadc_ep: endpoint {
			remote-endpoint = <&csi2_ep>;
		};
	};
};
